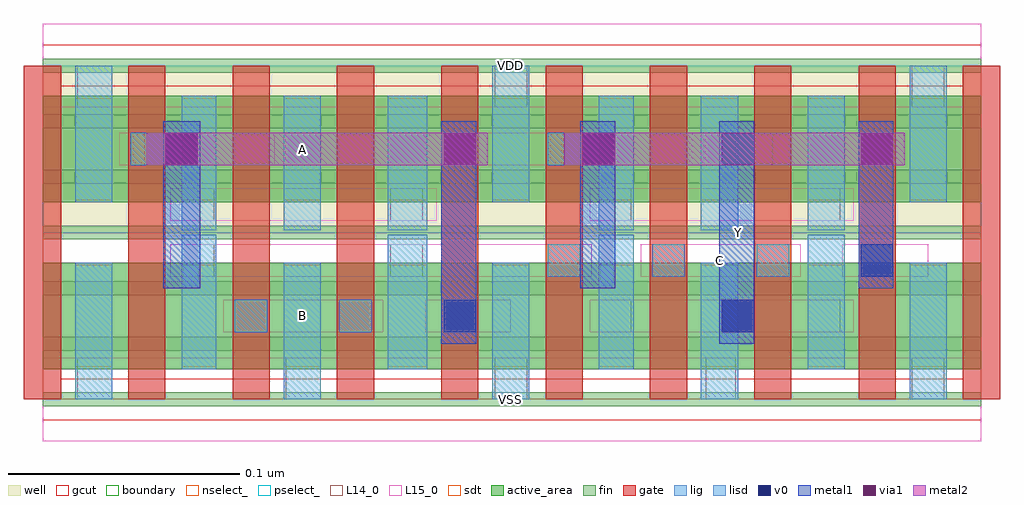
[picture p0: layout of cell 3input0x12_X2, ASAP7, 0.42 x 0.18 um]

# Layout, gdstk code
import gdstk
lib = gdstk.Library(unit=1e-6, precision=1e-09)
def R(c, l, rs):  # rectangles x0, y0, x1, y1
    for r in rs: c.add(gdstk.rectangle(r[:2], r[2:], *l))
def A(c, l, x, y, w, h, nx, ny, dx, dy):  # array of equal rectangles
    R(c, l, [(x+i*dx, y+j*dy, x+i*dx+w, y+j*dy+h) for i in range(nx) for j in range(ny)])
def P(c, l, *ps):  # polygons
    for p in ps: c.add(gdstk.Polygon(p, *l))
well = (1, 0)
fin = (2, 0)
gate = (7, 0)
gcut = (10, 0)
active_area = (11, 0)
nselect_ = (12, 0)
pselect_ = (13, 0)
L14_0 = (14, 0)
L15_0 = (15, 0)
lig = (16, 0)
lisd = (17, 0)
v0 = (18, 0)
metal1 = (19, 0)
metal2 = (20, 0)
via1 = (21, 0)
sdt = (88, 0)
boundary = (100, 0)

c_3input0x12_x2 = lib.new_cell('3input0x12_X2')
R(c_3input0x12_x2, well, [(0,0.072,0.405,0.144)])
A(c_3input0x12_x2, fin, 0, -0.003, 0.405, 0.006, 1, 7, 0, 0.024)
A(c_3input0x12_x2, gate, -0.008, 0, 0.016, 0.144, 10, 1, 0.045, 0)
P(c_3input0x12_x2, gcut, [(0,-0.009),(0,0),(-0.008,0),(-0.008,0.135),(0.008,0.135),(0.008,0.009),(0.397,0.009),(0.397,0.135),(-0.008,0.135),(-0.008,0.144),(0,0.144),(0,0.153),(0.405,0.153),(0.405,0.144),(0.413,0.144),(0.413,0),(0.405,0),(0.405,-0.009)])
R(c_3input0x12_x2, active_area, [(0,0.013,0.405,0.059), (0,0.085,0.405,0.131)])
R(c_3input0x12_x2, nselect_, [(0,0,0.405,0.072)])
R(c_3input0x12_x2, pselect_, [(0,0.072,0.405,0.144)])
A(c_3input0x12_x2, L14_0, 0.083, 0.029, 0.014, 0.014, 3, 1, 0.045, 0)
A(c_3input0x12_x2, L14_0, 0.218, 0.053, 0.014, 0.014, 4, 1, 0.045, 0)
A(c_3input0x12_x2, L14_0, 0.06, 0.077, 0.014, 0.014, 4, 1, 0.09, 0)
R(c_3input0x12_x2, L14_0, [(0.015,0,0.03,0.018), (0.105,0,0.12,0.018), (0.195,0,0.209,0.018), (0.286,0,0.299,0.018), (0.375,0,0.389,0.018), (0.24,0.029,0.254,0.043), (0.33,0.029,0.344,0.043), (0.06,0.053,0.074,0.067), (0.15,0.053,0.164,0.067), (0.038,0.101,0.052,0.115), (0.105,0.101,0.12,0.115), (0.218,0.101,0.232,0.115), (0.286,0.101,0.299,0.115), (0.015,0.126,0.03,0.144), (0.195,0.126,0.209,0.144), (0.375,0.126,0.389,0.144)])
R(c_3input0x12_x2, L15_0, [(0,-0.018,0.405,0.018), (0.078,0.029,0.147,0.043), (0.165,0.029,0.202,0.043), (0.236,0.029,0.35,0.043), (0.055,0.053,0.237,0.067), (0.258,0.053,0.327,0.067), (0.345,0.053,0.382,0.067), (0.055,0.077,0.17,0.091), (0.236,0.077,0.35,0.091), (0.033,0.101,0.075,0.115), (0.1,0.101,0.255,0.115), (0.28,0.101,0.315,0.115), (0,0.126,0.405,0.162)])
A(c_3input0x12_x2, lig, 0.083, 0.029, 0.014, 0.014, 3, 1, 0.045, 0)
A(c_3input0x12_x2, lig, 0.218, 0.053, 0.014, 0.014, 4, 1, 0.045, 0)
R(c_3input0x12_x2, lig, [(0.038,0.101,0.052,0.115), (0.218,0.101,0.232,0.115)])
A(c_3input0x12_x2, lisd, 0.014, 0, 0.016, 0.059, 5, 1, 0.09, 0)
A(c_3input0x12_x2, lisd, 0.014, 0.085, 0.016, 0.059, 3, 1, 0.18, 0)
R(c_3input0x12_x2, lisd, [(0.06,0.013,0.075,0.071), (0.149,0.013,0.166,0.071), (0.24,0.013,0.255,0.071), (0.33,0.013,0.346,0.071), (0.06,0.073,0.075,0.131), (0.104,0.073,0.12,0.131), (0.149,0.073,0.166,0.131), (0.24,0.073,0.255,0.131), (0.284,0.073,0.3,0.131), (0.33,0.073,0.346,0.131)])
R(c_3input0x12_x2, v0, [(0.173,0.029,0.187,0.043), (0.293,0.029,0.307,0.043), (0.353,0.053,0.367,0.067), (0.053,0.101,0.067,0.115), (0.233,0.101,0.247,0.115), (0.293,0.101,0.307,0.115)])
R(c_3input0x12_x2, metal1, [(0.172,0.024,0.187,0.12), (0.292,0.024,0.307,0.12), (0.052,0.048,0.068,0.12), (0.232,0.048,0.247,0.12), (0.352,0.048,0.367,0.12)])
R(c_3input0x12_x2, metal2, [(0.045,0.101,0.192,0.115), (0.225,0.101,0.372,0.115)])
R(c_3input0x12_x2, via1, [(0.053,0.101,0.067,0.115), (0.173,0.101,0.187,0.115), (0.233,0.101,0.247,0.115), (0.353,0.101,0.367,0.115)])
A(c_3input0x12_x2, sdt, 0.014, 0.014, 0.016, 0.044, 4, 2, 0.09, 0.072)
R(c_3input0x12_x2, sdt, [(0.06,0.014,0.075,0.058), (0.149,0.014,0.166,0.058), (0.24,0.014,0.255,0.058), (0.33,0.014,0.346,0.058), (0.374,0.014,0.39,0.058), (0.06,0.086,0.075,0.13), (0.149,0.086,0.166,0.13), (0.24,0.086,0.255,0.13), (0.33,0.086,0.346,0.13), (0.374,0.086,0.39,0.13)])
R(c_3input0x12_x2, boundary, [(0,0,0.405,0.144)])
c_3input0x12_x2.add(gdstk.Label('C', (0.292,0.06), layer=15, texttype=251))
c_3input0x12_x2.add(gdstk.Label('VSS', (0.202,0), layer=15, texttype=251))
c_3input0x12_x2.add(gdstk.Label('VDD', (0.202,0.144), layer=15, texttype=251))
c_3input0x12_x2.add(gdstk.Label('B', (0.112,0.036), layer=15, texttype=251))
c_3input0x12_x2.add(gdstk.Label('VSS', (0.202,0), layer=15, texttype=251))
c_3input0x12_x2.add(gdstk.Label('VDD', (0.202,0.144), layer=15, texttype=251))
c_3input0x12_x2.add(gdstk.Label('VSS', (0.202,0), layer=15, texttype=251))
c_3input0x12_x2.add(gdstk.Label('VDD', (0.202,0.144), layer=15, texttype=251))
c_3input0x12_x2.add(gdstk.Label('VSS', (0.202,0), layer=15, texttype=251))
c_3input0x12_x2.add(gdstk.Label('VDD', (0.202,0.144), layer=15, texttype=251))
c_3input0x12_x2.add(gdstk.Label('VSS', (0.202,0), layer=3, texttype=251))
c_3input0x12_x2.add(gdstk.Label('VSS', (0.202,0), layer=3, texttype=251))
c_3input0x12_x2.add(gdstk.Label('VSS', (0.202,0), layer=3, texttype=251))
c_3input0x12_x2.add(gdstk.Label('VSS', (0.202,0), layer=3, texttype=251))
c_3input0x12_x2.add(gdstk.Label('VDD', (0.202,0.144), layer=1, texttype=251))
c_3input0x12_x2.add(gdstk.Label('VDD', (0.202,0.144), layer=1, texttype=251))
c_3input0x12_x2.add(gdstk.Label('VDD', (0.202,0.144), layer=1, texttype=251))
c_3input0x12_x2.add(gdstk.Label('VDD', (0.202,0.144), layer=1, texttype=251))
c_3input0x12_x2.add(gdstk.Label('A', (0.112,0.108), layer=20, texttype=251))
c_3input0x12_x2.add(gdstk.Label('Y', (0.3,0.072), layer=19, texttype=251))

lib.write_gds('3input0x12_X2.gds')
